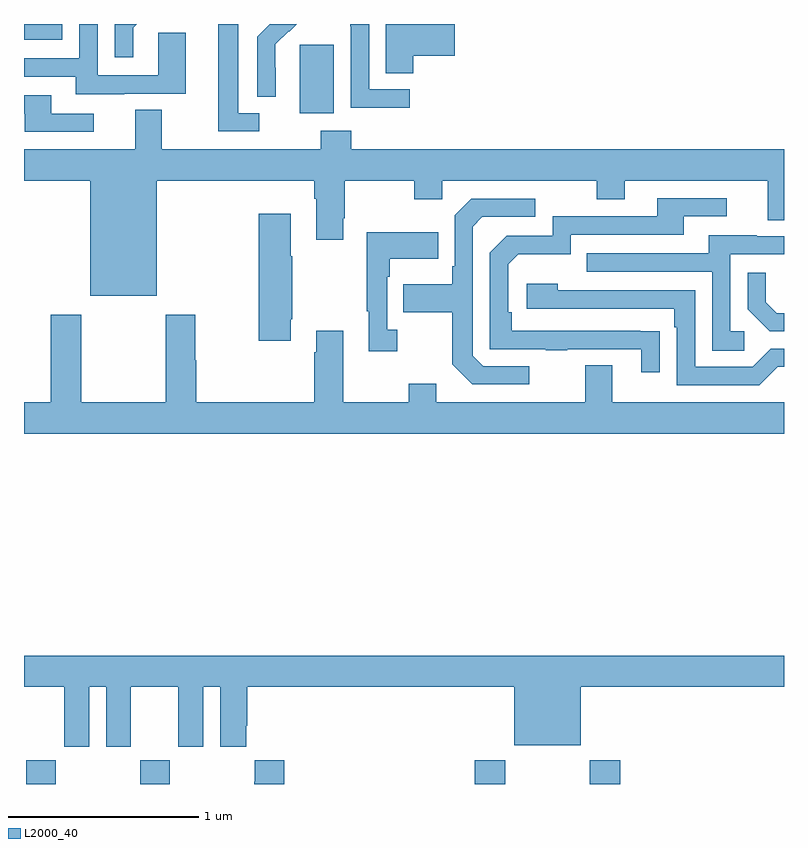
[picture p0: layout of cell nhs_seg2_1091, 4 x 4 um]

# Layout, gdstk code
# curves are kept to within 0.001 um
import gdstk
lib = gdstk.Library(unit=1e-6, precision=1e-09)
def R(c, l, rs):  # rectangles x0, y0, x1, y1
    for r in rs: c.add(gdstk.rectangle(r[:2], r[2:], *l))
def P(c, l, *ps):  # polygons
    for p in ps: c.add(gdstk.Polygon(p, *l))
L2000_40 = (2000, 40)

nhs_seg2_1091 = lib.new_cell('nhs_seg2_1091')
R(nhs_seg2_1091, L2000_40, [(167.011,637.8,167.166,637.924), (167.611,637.8,167.766,637.924), (169.373,637.8,169.533,637.924), (169.978,637.8,170.138,637.924), (168.452,641.33,168.631,641.691), (167,641.718,167.202,641.8)])
P(nhs_seg2_1091, L2000_40, [(168.238,641.331),(168.127,641.331),(168.127,641.8),(168.023,641.8),(168.023,641.235),(168.238,641.235)],
  [(168.324,641.57),(168.323,641.57),(168.323,641.693),(168.393,641.763),(168.396,641.76),(168.436,641.8),(168.294,641.8),(168.228,641.734),(168.228,641.416),(168.324,641.416)],
  [(169.03,641.457),(168.816,641.457),(168.816,641.8),(168.718,641.8),(168.718,641.788),(168.72,641.788),(168.72,641.359),(169.03,641.359)],
  [(169.049,641.633),(169.267,641.633),(169.267,641.8),(168.905,641.8),(168.905,641.542),(169.049,641.542)],
  [(167.575,641.781),(167.594,641.8),(167.478,641.8),(167.478,641.625),(167.575,641.625)],
  [(167.527,641.433),(167.851,641.433),(167.851,641.753),(167.706,641.753),(167.706,641.529),(167.388,641.529),(167.388,641.8),(167.292,641.8),(167.292,641.619),(167,641.619),(167,641.523),(167.273,641.523),(167.273,641.429),(167.527,641.429)],
  [(167.368,641.328),(167.143,641.328),(167.143,641.424),(167,641.424),(167,641.328),(167.003,641.328),(167.003,641.232),(167.368,641.232)],
  [(167.698,640.976),(168.527,640.976),(168.527,640.88),(168.539,640.88),(168.539,640.665),(168.679,640.665),(168.679,640.777),(168.687,640.777),(168.687,640.976),(169.054,640.976),(169.054,640.877),(169.2,640.877),(169.2,640.976),(170.014,640.976),(170.014,640.877),(170.161,640.877),(170.161,640.976),(170.915,640.976),(170.915,640.768),(171,640.768),(171,641.14),(168.722,641.14),(168.722,641.239),(168.562,641.239),(168.562,641.14),(167.725,641.14),(167.725,641.348),(167.585,641.348),(167.585,641.14),(167,641.14),(167,640.976),(167.348,640.976),(167.348,640.37),(167.698,640.37)],
  [(170.345,640.184),(169.568,640.185),(169.568,640.282),(169.548,640.282),(169.548,640.536),(169.601,640.589),(169.878,640.589),(169.878,640.692),(170.473,640.692),(170.473,640.788),(170.698,640.788),(170.698,640.884),(170.333,640.884),(170.333,640.788),(169.782,640.788),(169.782,640.686),(169.542,640.686),(169.452,640.596),(169.452,640.089),(169.747,640.089),(169.747,640.084),(169.859,640.084),(169.859,640.089),(170.249,640.089),(170.249,639.966),(170.345,639.966)],
  [(169.66,639.999),(169.416,639.999),(169.362,640.053),(169.362,640.734),(169.413,640.785),(169.69,640.785),(169.69,640.881),(169.353,640.881),(169.266,640.794),(169.266,640.525),(169.254,640.525),(169.254,640.429),(168.997,640.429),(168.997,640.282),(169.254,640.282),(169.254,640.009),(169.359,639.903),(169.66,639.903)],
  [(168.403,640.246),(168.411,640.246),(168.411,640.577),(168.403,640.577),(168.403,640.801),(168.236,640.801),(168.236,640.134),(168.403,640.134)],
  [(168.964,640.19),(168.912,640.19),(168.912,640.469),(168.925,640.469),(168.925,640.565),(169.181,640.565),(169.181,640.705),(168.804,640.705),(168.804,640.289),(168.815,640.289),(168.815,640.077),(168.964,640.077)],
  [(170.791,640.182),(170.718,640.182),(170.718,640.587),(171,640.587),(171,640.683),(170.857,640.683),(170.857,640.687),(170.603,640.687),(170.603,640.593),(169.963,640.593),(169.963,640.497),(170.622,640.497),(170.622,640.081),(170.791,640.081)],
  [(171,640.278),(170.962,640.278),(170.905,640.335),(170.905,640.492),(170.808,640.492),(170.808,640.298),(170.924,640.182),(171,640.182)],
  [(170.967,639.996),(171,639.996),(171,640.092),(170.931,640.092),(170.835,639.996),(170.532,639.996),(170.532,640.398),(169.808,640.398),(169.808,640.432),(169.647,640.432),(169.647,640.302),(170.423,640.302),(170.423,640.205),(170.436,640.205),(170.436,639.9),(170.871,639.9)],
  [(171,639.808),(170.095,639.808),(170.095,640.003),(169.955,640.003),(169.955,639.808),(169.171,639.808),(169.171,639.907),(169.024,639.907),(169.024,639.808),(168.679,639.808),(168.679,640.186),(168.539,640.186),(168.539,640.073),(168.527,640.073),(168.527,639.808),(167.906,639.808),(167.906,640.031),(167.901,640.031),(167.901,640.27),(167.746,640.27),(167.746,639.808),(167.301,639.808),(167.301,640.27),(167.141,640.27),(167.141,639.808),(167,639.808),(167,639.644),(171,639.644)],
  [(167.344,638.312),(167.432,638.312),(167.432,637.995),(167.563,637.995),(167.563,638.312),(167.813,638.312),(167.813,637.995),(167.944,637.995),(167.944,638.312),(168.032,638.312),(168.032,637.995),(168.169,637.995),(168.169,638.107),(168.176,638.107),(168.176,638.312),(169.58,638.312),(169.58,638.003),(169.93,638.003),(169.93,638.312),(171,638.312),(171,638.476),(167,638.476),(167,638.312),(167.213,638.312),(167.213,637.995),(167.344,637.995)],
  [(168.371,637.924),(168.215,637.924),(168.215,637.811),(168.211,637.811),(168.211,637.8),(168.371,637.8)])

lib.write_gds('nhs_seg2_1091.gds')
